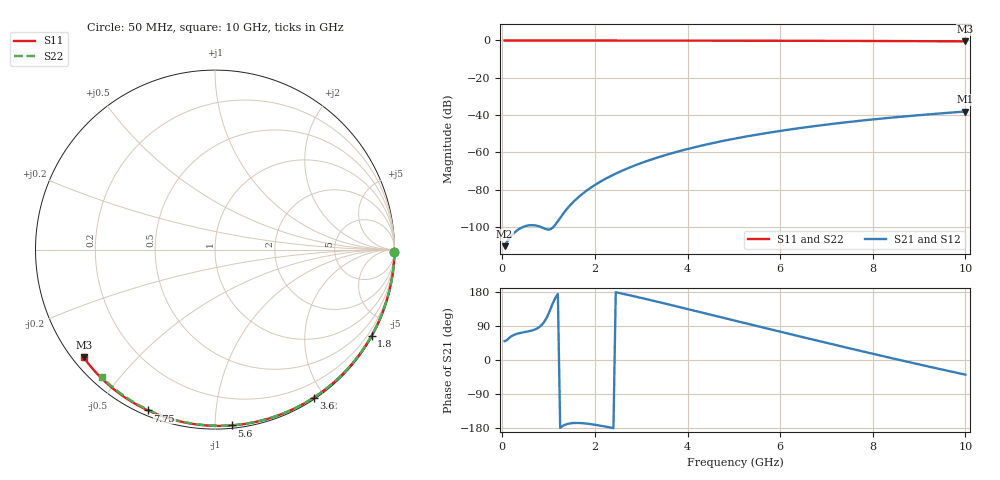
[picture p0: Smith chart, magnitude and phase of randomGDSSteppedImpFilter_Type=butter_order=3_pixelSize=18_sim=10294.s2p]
! freq	dB(S11)	phase(S11)	dB(S12)	phase(S12)
!  dB(S21)	phase(S21)	dB(S22)	phase(S22)
!S-par simulation data
#  GHz  S  DB  R 50
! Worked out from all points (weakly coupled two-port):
!   200 points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, 50 MHz to 10 GHz, reference 50 ohm
!   highest |S21| = -38.11 dB at 10 GHz (marker M1); lowest = -110.3 dB at 50 MHz (marker M2)
!   lowest |S11| = -0.5 dB at 10 GHz (marker M3), VSWR 36.47, Z = 1.55 - j17.9 ohm
!   |S11| at or under -10 dB: nowhere
!   |S22| runs from -0.4 to 0.0 dB; largest |S21 - S12| = 0
!   S11 on the Smith chart (normalised r, x): 50 MHz: open; 1.8 GHz: 0.03, -3.90; 3.6 GHz: 0.02, -1.87; 5.6 GHz: 0.02, -1.10; 7.75 GHz: 0.02, -0.67; 10 GHz: 0.03, -0.36
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0.05  -0.00 -0.8  -110.33 49.7  -110.33 49.7  -0.00 -0.8
0.45  -0.01 -7.3  -100.01 72.9  -100.01 72.9  -0.01 -6.8
0.9  -0.02 -14.5  -100.77 99.6  -100.77 99.6  -0.02 -13.6
1.75  -0.04 -28.0  -81.88 -166.9  -81.88 -166.9  -0.03 -26.3
1.8  -0.04 -28.8  -80.92 -167.5  -80.92 -167.5  -0.03 -27.0
1.85  -0.04 -29.6  -80.02 -168.2  -80.02 -168.2  -0.04 -27.7
2.15  -0.04 -34.3  -75.28 -173.9  -75.28 -173.9  -0.04 -32.1
2.35  -0.05 -37.3  -72.62 -178.7  -72.62 -178.7  -0.04 -35.0
2.55  -0.05 -40.4  -70.26 176.2  -70.26 176.2  -0.05 -37.9
2.95  -0.06 -46.5  -66.20 165.3  -66.20 165.3  -0.06 -43.6
3.4  -0.07 -53.3  -62.40 152.3  -62.40 152.3  -0.07 -50.0
3.6  -0.08 -56.2  -60.91 146.4  -60.91 146.4  -0.07 -52.8
4.3  -0.09 -66.4  -56.41 125.5  -56.41 125.5  -0.09 -62.4
5.05  -0.12 -77.0  -52.51 103.1  -52.51 103.1  -0.11 -72.3
5.6  -0.14 -84.6  -50.09 86.6  -50.09 86.6  -0.13 -79.5
6.15  -0.16 -91.9  -47.97 70.3  -47.97 70.3  -0.15 -86.4
6.7  -0.19 -99.2  -46.07 54.1  -46.07 54.1  -0.18 -93.2
7.2  -0.22 -105.6  -44.53 39.5  -44.53 39.5  -0.21 -99.3
7.75  -0.26 -112.6  -43.00 23.6  -43.00 23.6  -0.24 -105.9
8.35  -0.31 -120.2  -41.51 6.5  -41.51 6.5  -0.29 -112.9
9.2  -0.39 -130.7  -39.65 -17.1  -39.65 -17.1  -0.36 -122.6
10  -0.48 -140.6  -38.11 -38.7  -38.11 -38.7  -0.45 -131.7
